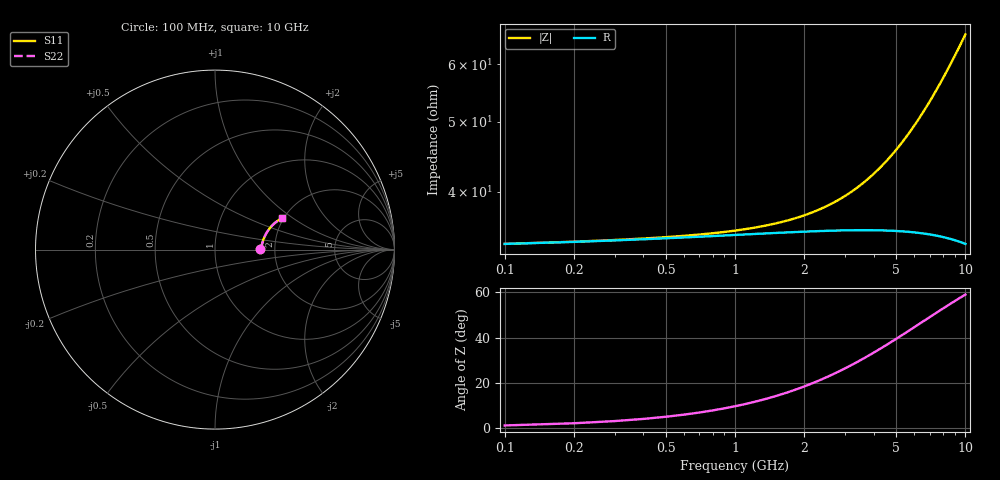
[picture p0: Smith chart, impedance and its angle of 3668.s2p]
# Hz S RI R 50.00
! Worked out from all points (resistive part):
!   100 points, 100 MHz to 10 GHz, reference 50 ohm
!   read as one part in series: R = 33.9 ohm at 100 MHz
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1e8  0.2531 0.00234  0.7469 -0.00406  0.7469 -0.00406  0.2531 0.00234
2e8  0.2544 0.00466  0.7456 -0.00809  0.7456 -0.00809  0.2544 0.00466
4e8  0.2562 0.00927  0.7438 -0.0161  0.7438 -0.0161  0.2562 0.00927
1.2e9  0.2612 0.0274  0.7386 -0.0479  0.7386 -0.0479  0.2612 0.0274
1.5e9  0.263 0.034  0.7366 -0.0598  0.7366 -0.0598  0.263 0.034
1.8e9  0.2649 0.0407  0.7346 -0.0715  0.7346 -0.0715  0.2649 0.0407
2.2e9  0.2676 0.0494  0.7315 -0.0871  0.7315 -0.0871  0.2676 0.0494
2.6e9  0.2707 0.0579  0.7282 -0.1025  0.7282 -0.1025  0.2707 0.0579
3e9  0.274 0.0663  0.7245 -0.1178  0.7245 -0.1178  0.274 0.0663
3.4e9  0.2776 0.0746  0.7204 -0.1329  0.7204 -0.1329  0.2776 0.0746
3.8e9  0.2815 0.0826  0.716 -0.1478  0.716 -0.1478  0.2815 0.0826
4.2e9  0.2857 0.0905  0.7113 -0.1626  0.7113 -0.1626  0.2857 0.0905
4.6e9  0.2903 0.0982  0.7062 -0.1771  0.7062 -0.1771  0.2903 0.0982
5.1e9  0.2963 0.1074  0.6993 -0.195  0.6993 -0.195  0.2963 0.1074
5.5e9  0.3015 0.1145  0.6934 -0.209  0.6934 -0.209  0.3015 0.1145
5.9e9  0.3069 0.1214  0.6872 -0.2228  0.6872 -0.2228  0.3069 0.1214
6.7e9  0.3185 0.1343  0.6739 -0.2495  0.6739 -0.2495  0.3185 0.1343
7.2e9  0.3263 0.1418  0.665 -0.2657  0.665 -0.2657  0.3263 0.1418
7.6e9  0.3327 0.1475  0.6575 -0.2783  0.6575 -0.2783  0.3327 0.1475
8.4e9  0.3461 0.158  0.6419 -0.3027  0.6419 -0.3027  0.3461 0.158
9.2e9  0.3602 0.1671  0.6254 -0.3258  0.6254 -0.3258  0.3602 0.1671
1e10  0.3749 0.175  0.6081 -0.3477  0.6081 -0.3477  0.3749 0.175
